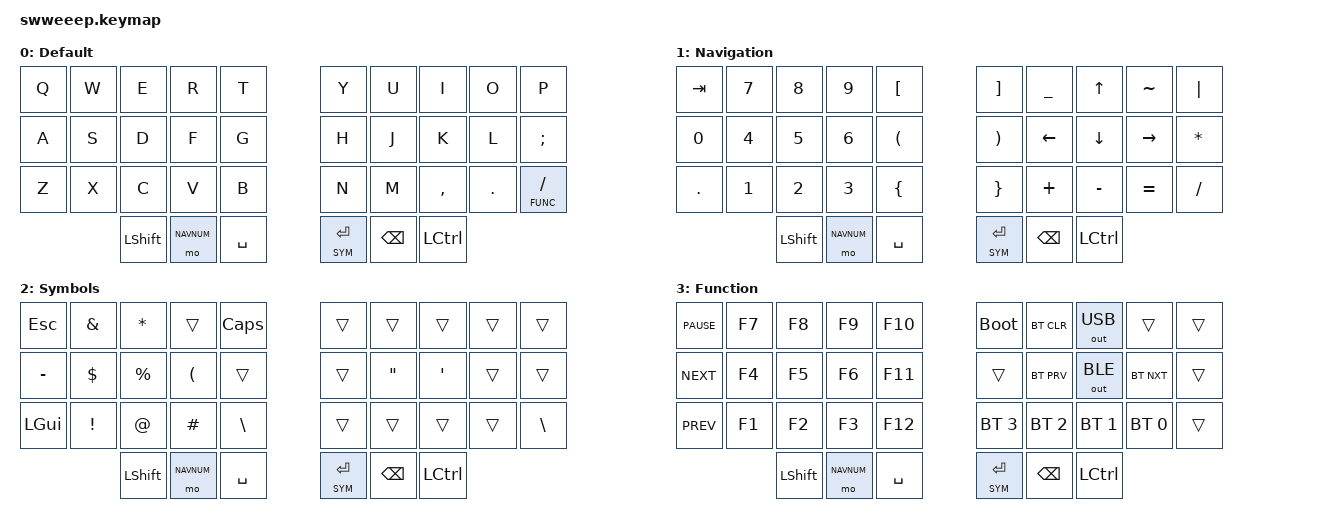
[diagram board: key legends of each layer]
#include <behaviors.dtsi>
#include <dt-bindings/zmk/keys.h>
#include <dt-bindings/zmk/bt.h>
#include <dt-bindings/zmk/outputs.h>

#define DEFAULT 0
#define NAVNUM  1
#define SYM     2
#define FUNC    3

&caps_word {
    continue-list = <UNDERSCORE MINUS>;
};

/ {
    combos {
        compatible = "zmk,combos";
        combo_caps {
            timeout-ms = <100>;
            key-positions = <13 20>;
            layers = <0>;
            bindings = <&kp CAPS>;
        };
        combo_shift {
            timeout-ms = <50>;
            key-positions = <13 16>;
            layers = <0>;
            bindings = <&sk LSHIFT>;
        };
        combo_ctrl {
            timeout-ms = <50>;
            key-positions = <12 17>;
            layers = <0>;
            bindings = <&sk LCTRL>;
        };
        combo_alt {
            timeout-ms = <50>;
            key-positions = <14 15>;
            layers = <0>;
            bindings = <&sk LALT>;
        };
        combo_gui {
            timeout-ms = <50>;
            key-positions = <10 19>;
            layers = <0>;
            bindings = <&kp LGUI>;
        };
    };
};

/ {

    behaviors {
        st_FS: stfs_tap_dance {
            compatible = "zmk,behavior-tap-dance";
            label = "STFS_TAP_DANCE";
            #binding-cells = <0>;
            tapping-term-ms = <200>;
            bindings = <&kp F>, <&sk LSHIFT>;
        };
        st_DC: stdc_tap_dance {
            compatible = "zmk,behavior-tap-dance";
            label = "STDC_TAP_DANCE";
            #binding-cells = <0>;
            tapping-term-ms = <200>;
            bindings = <&kp D>, <&sk LCTRL>;
        };
        st_GA: stga_tap_dance {
            compatible = "zmk,behavior-tap-dance";
            label = "STGA_TAP_DANCE";
            #binding-cells = <0>;
            tapping-term-ms = <200>;
            bindings = <&kp G>, <&sk LALT>;
        };
        td_X: tdx_tap_dance {
            compatible = "zmk,behavior-tap-dance";
            label = "TDX_TAP_DANCE";
            #binding-cells = <0>;
            tapping-term-ms = <200>;
            bindings = <&kp X>, <&kp K_CUT>;
        };
        td_Z: tdz_tap_dance {
            compatible = "zmk,behavior-tap-dance";
            label = "TDZ_TAP_DANCE";
            #binding-cells = <0>;
            tapping-term-ms = <200>;
            bindings = <&kp Z>, <&kp K_UNDO>;
        };
        td_C: tdc_tap_dance {
            compatible = "zmk,behavior-tap-dance";
            label = "TDC_TAP_DANCE";
            #binding-cells = <0>;
            tapping-term-ms = <200>;
            bindings = <&kp C>, <&kp K_COPY>;
        };
        td_V: tdv_tap_dance {
            compatible = "zmk,behavior-tap-dance";
            label = "TDV_TAP_DANCE";
            #binding-cells = <0>;
            tapping-term-ms = <200>;
            bindings = <&kp V>, <&kp K_PASTE>;
        };
    };

    keymap {
        compatible = "zmk,keymap";

        default_layer {
            label = "Default";

            bindings = <
    &kp Q        &kp W        &kp E       &kp R         &kp T                                &kp Y         &kp U        &kp I         &kp O       &kp P
    &kp A        &kp S        &kp D       &kp F         &kp G                                &kp H         &kp J        &kp K         &kp L       &kp SEMI
    &kp Z        &kp X        &kp C       &kp V         &kp B                                &kp N         &kp M        &kp COMMA     &kp DOT     &lt FUNC FSLH
                                          &kp LSHIFT    &mo NAVNUM  &kp SPACE  &lt SYM RETURN  &kp BSPC &kp LCTL
            >;
        };

        nav_layer {
            label = "Navigation";

            bindings = <
    &kp TAB    &kp N7    &kp N8    &kp N9     &kp LBKT                                      &kp RBKT     &kp UNDERSCORE &kp UP        &kp TILDE      &kp PIPE
    &kp N0     &kp N4    &kp N5    &kp N6     &kp LPAR                                      &kp RPAR     &kp LEFT       &kp DOWN      &kp RIGHT      &kp ASTRK
    &kp DOT    &kp N1    &kp N2    &kp N3     &kp LBRC                                      &kp RBRC     &kp PLUS       &kp MINUS     &kp EQUAL      &kp FSLH
                                          &kp LSHIFT    &mo NAVNUM  &kp SPACE  &lt SYM RETURN  &kp BSPC &kp LCTL
            >;
        };

        sym_layer {
            label = "Symbols";

            bindings = <
    &kp ESC     &kp AMPS       &kp ASTRK        &trans         &kp CAPS                                  &trans        &trans            &trans        &trans      &trans
    &kp MINUS   &kp DLLR       &kp PRCNT        &kp LPAR       &trans                                    &trans        &kp DQT          &kp SQT       &trans    &trans
    &kp LGUI    &kp EXCL       &kp AT           &kp HASH       &kp BSLH                                  &trans        &trans            &trans        &trans      &kp BSLH
                                          &kp LSHIFT    &mo NAVNUM  &kp SPACE  &lt SYM RETURN  &kp BSPC &kp LCTL
            >;
        };

        func_layer {
            label = "Function";

            bindings = <
    &kp C_PAUSE      &kp F7       &kp F8        &kp F9      &kp F10                                   &bootloader  &bt BT_CLR    &out OUT_USB   &trans        &trans  
    &kp K_NEXT       &kp F4       &kp F5        &kp F6      &kp F11                                   &trans       &bt BT_PRV    &out OUT_BLE   &bt BT_NXT    &trans 
    &kp K_PREV       &kp F1       &kp F2        &kp F3      &kp F12                                   &bt BT_SEL 3 &bt BT_SEL 2  &bt BT_SEL 1   &bt BT_SEL 0  &trans
                                          &kp LSHIFT    &mo NAVNUM  &kp SPACE  &lt SYM RETURN  &kp BSPC &kp LCTL
            >;
        };
    };
};

